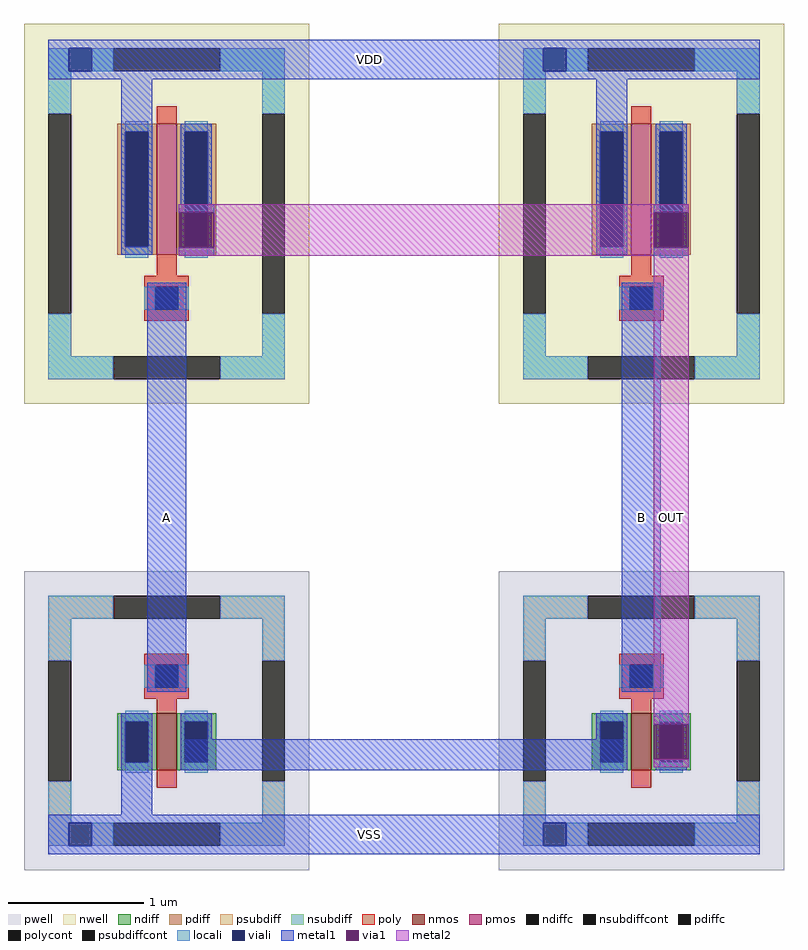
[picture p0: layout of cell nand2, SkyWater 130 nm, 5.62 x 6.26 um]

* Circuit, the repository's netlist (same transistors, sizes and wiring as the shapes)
* 贯通项目步骤二参考解：二输入与非门原理图网表（LVS 用）。串联 NMOS 的 Wn 可按步骤二的分析加宽。
.subckt nand2 A B OUT VDD VSS
XMN1 X A VSS VSS sky130_fd_pr__nfet_01v8 W=0.42 L=0.15 nf=1 m=1
XMN2 OUT B X VSS sky130_fd_pr__nfet_01v8 W=0.42 L=0.15 nf=1 m=1
XMP1 OUT A VDD VDD sky130_fd_pr__pfet_01v8 W=0.97 L=0.15 nf=1 m=1
XMP2 OUT B VDD VDD sky130_fd_pr__pfet_01v8 W=0.97 L=0.15 nf=1 m=1
.ends

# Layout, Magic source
magic
tech sky130A
magscale 1 2
<< viali >>
rect -145 961 -111 995
rect 557 961 591 995
rect -145 -185 -111 -151
rect 557 -185 591 -151
<< metal1 >>
rect -175 995 877 1007
rect -175 961 -145 995
rect -111 961 557 995
rect 591 961 877 995
rect -175 949 877 961
rect -67 883 -21 949
rect 635 883 681 949
rect 18 752 70 764
rect 18 688 70 700
rect 720 752 772 764
rect 720 688 772 700
rect -29 43 29 648
rect 673 43 731 648
rect 720 -5 772 7
rect 21 -73 681 -27
rect 720 -69 772 -57
rect -67 -139 -21 -73
rect -175 -151 877 -139
rect -175 -185 -145 -151
rect -111 -185 557 -151
rect 591 -185 877 -151
rect -175 -197 877 -185
<< via1 >>
rect 18 700 70 752
rect 720 700 772 752
rect 720 -57 772 -5
<< metal2 >>
rect 18 752 772 764
rect 70 700 720 752
rect 18 688 772 700
rect 720 -5 772 688
rect 720 -69 772 -57
use sky130_fd_pr__nfet_01v8_2MLY76  n1
transform 1 0 0 0 1 0
box -211 -221 211 221
use sky130_fd_pr__nfet_01v8_2MLY76  n2
transform 1 0 702 0 1 0
box -211 -221 211 221
use sky130_fd_pr__pfet_01v8_LPXEAP  p1
transform 1 0 0 0 1 750
box -211 -281 211 281
use sky130_fd_pr__pfet_01v8_LPXEAP  p2
transform 1 0 702 0 1 750
box -211 -281 211 281
<< labels >>
rlabel metal1 0 300 0 300 0 A
port 1 nsew
rlabel metal1 702 300 702 300 0 B
port 2 nsew
rlabel metal2 746 300 746 300 0 OUT
port 3 nsew
rlabel metal1 300 978 300 978 0 VDD
port 4 nsew
rlabel metal1 300 -168 300 -168 0 VSS
port 5 nsew
<< end >>

# cell sky130_fd_pr__nfet_01v8_2MLY76: kit device sky130_fd_pr__nfet_01v8, w 0.42 l 0.15 m 1 nf 1 diffcov 100 polycov 100 guard 1 glc 1 grc 1 gtc 1 gbc 1 tbcov 100 rlcov 100 topc 1 botc 0 poverlap 0 doverlap 1 lmin 0.15 wmin 0.42 class mosfet compatible {sky130_fd_pr__nfet_01v8 sky130_fd_pr__nfet_01v8_lvt sky130_fd_bs_flash__special_sonosfet_star sky130_fd_pr__nfet_g5v0d10v5 sky130_fd_pr__nfet_05v0_nvt sky130_fd_pr__nfet_03v3_nvt} full_metal 1 conn_gates 0 viasrc 100 viadrn 100 viagate 100 viagb 0 viagr 0 viagl 0 viagt 0 doports 1

# cell sky130_fd_pr__pfet_01v8_LPXEAP: kit device sky130_fd_pr__pfet_01v8, w 0.97 l 0.15 m 1 nf 1 diffcov 100 polycov 100 guard 1 glc 1 grc 1 gtc 1 gbc 1 tbcov 100 rlcov 100 topc 0 botc 1 poverlap 0 doverlap 1 lmin 0.15 wmin 0.42 class mosfet compatible {sky130_fd_pr__pfet_01v8 sky130_fd_pr__pfet_01v8_lvt sky130_fd_pr__pfet_01v8_hvt sky130_fd_pr__pfet_g5v0d10v5} full_metal 1 conn_gates 0 viasrc 100 viadrn 100 viagate 100 viagb 0 viagr 0 viagl 0 viagt 0 doports 1
